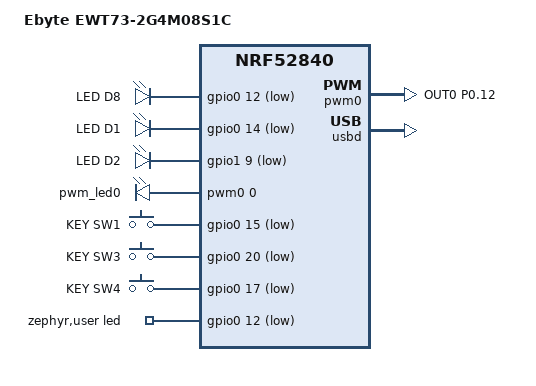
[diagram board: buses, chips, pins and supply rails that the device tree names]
// Copyright (c) 2026
// SPDX-License-Identifier: Apache-2.0

#include <nordic/nrf52840_qiaa.dtsi>
#include <zephyr/dt-bindings/input/input-event-codes.h>

&pinctrl {
	pwm0_default: pwm0_default {
		group1 {
			psels = <NRF_PSEL(PWM_OUT0, 0, 12)>;
			nordic,invert;
		};
	};

	pwm0_sleep: pwm0_sleep {
		group1 {
			psels = <NRF_PSEL(PWM_OUT0, 0, 12)>;
			low-power-enable;
		};
	};
};

/ {
	model = "Ebyte EWT73-2G4M08S1C";
	compatible = "ebyte,ewt73-2g4m08s1c";

	chosen {
		zephyr,sram = &sram0;
		zephyr,flash = &flash0;
		zephyr,console = &cdc_acm_uart0;
		zephyr,shell-uart = &cdc_acm_uart0;
	};

	leds {
		compatible = "gpio-leds";
		led0_d8: led_0 {
			gpios = <&gpio0 12 GPIO_ACTIVE_LOW>;
			label = "LED D8";
		};
		led1_d1: led_1 {
			gpios = <&gpio0 14 GPIO_ACTIVE_LOW>;
			label = "LED D1";
		};
		led2_d2: led_2 {
			gpios = <&gpio1 9 GPIO_ACTIVE_LOW>;
			label = "LED D2";
		};
	};

	pwmleds {
		compatible = "pwm-leds";
		pwm_led0: pwm_led_0 {
			pwms = <&pwm0 0 PWM_MSEC(1) PWM_POLARITY_INVERTED>;
		};
	};

	buttons {
		compatible = "gpio-keys";
		button0: button_0 {
			gpios = <&gpio0 15 (GPIO_PULL_UP | GPIO_ACTIVE_LOW)>;
			label = "KEY SW1";
			zephyr,code = <INPUT_KEY_0>;
		};
		button1: button_1 {
			gpios = <&gpio0 20 (GPIO_PULL_UP | GPIO_ACTIVE_LOW)>;
			label = "KEY SW3";
			zephyr,code = <INPUT_KEY_1>;
		};
		button2: button_2 {
			gpios = <&gpio0 17 (GPIO_PULL_UP | GPIO_ACTIVE_LOW)>;
			label = "KEY SW4";
			zephyr,code = <INPUT_KEY_2>;
		};
	};

	aliases {
		sw0 = &button0;
		sw1 = &button1;
		sw2 = &button2;
		led0 = &led0_d8;
		led1 = &led1_d1;
		led2 = &led2_d2;
		pwm-led0 = &pwm_led0;
		mcuboot-button0 = &button0;
		mcuboot-led0 = &led0_d8;
		watchdog0 = &wdt0;
	};

	zephyr,user {
		led-gpios = <&gpio0 12 (GPIO_ACTIVE_LOW | GPIO_OPEN_DRAIN)>;
	};
};

&reg0 {
	status = "disabled";
};

&reg1 {
	regulator-initial-mode = <NRF5X_REG_MODE_LDO>;
};

&gpio0 {
	status = "okay";
};

&gpio1 {
	status = "okay";
};

&gpiote {
	status = "okay";
};

&pwm0 {
	status = "okay";
	pinctrl-0 = <&pwm0_default>;
	pinctrl-1 = <&pwm0_sleep>;
	pinctrl-names = "default", "sleep";
};

zephyr_udc0: &usbd {
	compatible = "nordic,nrf-usbd";
	status = "okay";
	cdc_acm_uart0: cdc_acm_uart0 {
		compatible = "zephyr,cdc-acm-uart";
	};
};

&cryptocell {
	status = "disabled";
};

&nfct {
	status = "disabled";
};
